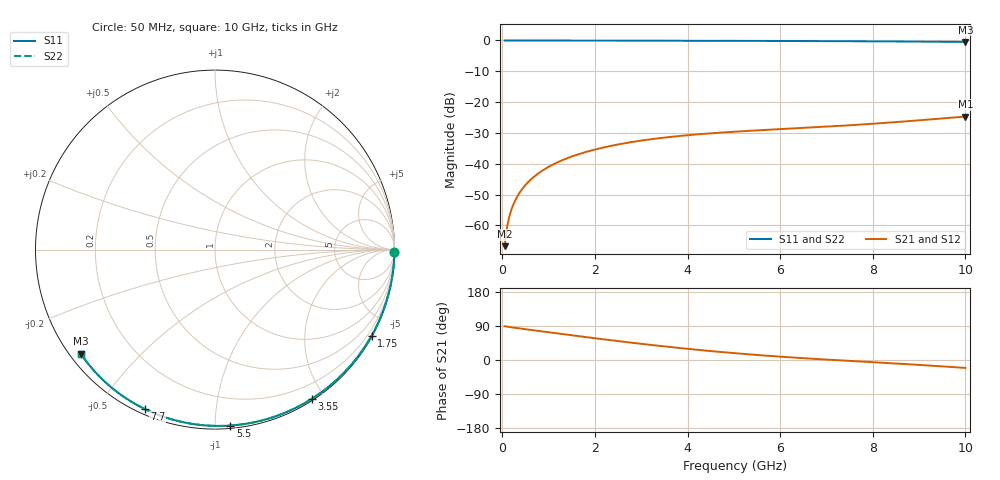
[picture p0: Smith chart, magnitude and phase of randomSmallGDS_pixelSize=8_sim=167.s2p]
! freq	dB(S11)	phase(S11)	dB(S12)	phase(S12)
!  dB(S21)	phase(S21)	dB(S22)	phase(S22)
!S-par simulation data
#  GHz  S  DB  R 50
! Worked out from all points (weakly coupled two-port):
!   200 points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, 50 MHz to 10 GHz, reference 50 ohm
!   highest |S21| = -24.69 dB at 10 GHz (marker M1); lowest = -66.8 dB at 50 MHz (marker M2)
!   lowest |S11| = -0.5 dB at 10 GHz (marker M3), VSWR 36.41, Z = 1.53 - j17.1 ohm
!   |S11| at or under -10 dB: nowhere
!   |S22| runs from -0.5 to 0.0 dB; largest |S21 - S12| = 0
!   S11 on the Smith chart (normalised r, x): 50 MHz: open; 1.75 GHz: 0.03, -3.89; 3.55 GHz: 0.02, -1.84; 5.5 GHz: 0.02, -1.09; 7.7 GHz: 0.02, -0.65; 10 GHz: 0.03, -0.34
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0.05  -0.00 -0.8  -66.75 89.0  -66.75 89.0  -0.00 -0.8
0.1  -0.00 -1.7  -60.74 88.0  -60.74 88.0  -0.00 -1.7
0.15  -0.00 -2.5  -57.24 87.1  -57.24 87.1  -0.00 -2.5
0.2  -0.00 -3.4  -54.76 86.2  -54.76 86.2  -0.00 -3.4
0.25  -0.00 -4.2  -52.84 85.3  -52.84 85.3  -0.00 -4.2
0.35  -0.00 -5.9  -49.95 83.7  -49.95 83.7  -0.00 -5.9
0.5  -0.01 -8.4  -46.90 81.2  -46.90 81.2  -0.01 -8.4
0.7  -0.01 -11.7  -44.03 78.0  -44.03 78.0  -0.01 -11.7
1  -0.02 -16.6  -41.01 73.2  -41.01 73.2  -0.02 -16.6
1.35  -0.03 -22.4  -38.52 67.6  -38.52 67.6  -0.03 -22.4
1.75  -0.04 -28.8  -36.44 61.3  -36.44 61.3  -0.04 -28.9
2.5  -0.05 -40.8  -33.74 49.8  -33.74 49.8  -0.05 -40.8
3.4  -0.07 -54.7  -31.70 37.2  -31.70 37.2  -0.07 -54.7
3.55  -0.08 -57.0  -31.43 35.2  -31.43 35.2  -0.08 -57.0
4.3  -0.10 -68.1  -30.37 25.9  -30.37 25.9  -0.10 -68.1
5.05  -0.12 -78.8  -29.57 17.7  -29.57 17.7  -0.12 -78.8
5.5  -0.14 -85.0  -29.18 13.3  -29.18 13.3  -0.14 -85.0
6.7  -0.20 -101.1  -28.22 3.3  -28.22 3.3  -0.20 -101.1
7.7  -0.26 -113.9  -27.33 -3.7  -27.33 -3.7  -0.26 -113.9
8.35  -0.31 -122.0  -26.66 -8.2  -26.66 -8.2  -0.31 -122.0
9.2  -0.39 -132.4  -25.67 -14.4  -25.67 -14.4  -0.39 -132.4
10  -0.48 -142.2  -24.69 -20.9  -24.69 -20.9  -0.48 -142.2
